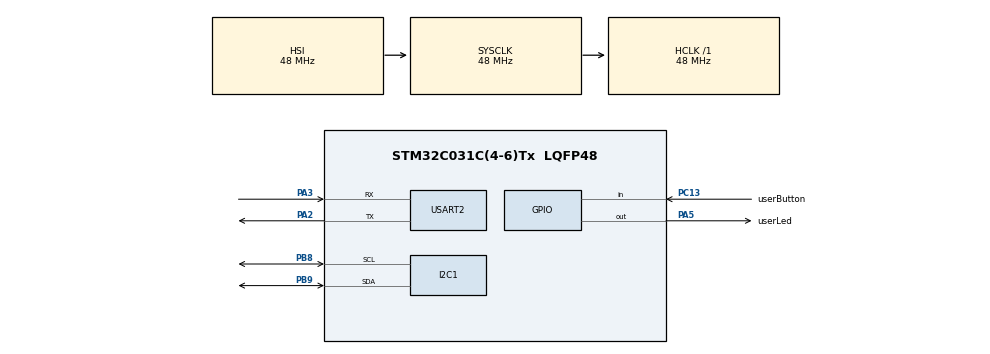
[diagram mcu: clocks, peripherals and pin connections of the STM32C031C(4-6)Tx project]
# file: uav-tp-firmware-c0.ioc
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I2C1.Timing=0x10805D88
Mcu.Family=STM32C0
Mcu.Name=STM32C031C(4-6)Tx
Mcu.Package=LQFP48
NVIC.TIM14_IRQn=true\:0\:0\:false\:false\:true\:true\:true\:true
PA13.Mode=Serial_Wire
PA13.Signal=DEBUG_SWDIO
PA14-BOOT0.Mode=Serial_Wire
PA14-BOOT0.Signal=DEBUG_SWCLK
PA2.Mode=Asynchronous
PA2.Signal=USART2_TX
PA3.Mode=Asynchronous
PA3.Signal=USART2_RX
PA5.GPIO_Label=userLed
PA5.Signal=GPIO_Output
PB8.Mode=I2C
PB8.Signal=I2C1_SCL
PB9.Mode=I2C
PB9.Signal=I2C1_SDA
PC13.GPIO_Label=userButton
PC13.Signal=GPIO_Input
ProjectManager.HeapSize=0x200
ProjectManager.StackSize=0x400
ProjectManager.TargetToolchain=Makefile
RCC.ADCFreq_Value=48000000
RCC.AHBFreq_Value=48000000
RCC.CortexFreq_Value=48000000
RCC.EXTERNAL_CLOCK_VALUE=12288000
RCC.HCLKFreq_Value=48000000
RCC.HSE_VALUE=8000000
RCC.HSISYSCLKDivider=RCC_HSI_DIV1
RCC.HSI_VALUE=48000000
RCC.LSE_VALUE=32768
RCC.SYSCLKFreq_VALUE=48000000
TIM14.Period=10000-1
TIM14.Prescaler=48-1
USART2.VirtualMode-Asynchronous=VM_ASYNC
VP_TIM14_VS_ClockSourceINT.Mode=Enable_Timer
board=custom

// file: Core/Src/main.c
/* USER CODE BEGIN Header */
/**
  ******************************************************************************
  * @file           : main.c
  * @brief          : Main program body
  ******************************************************************************
  * @attention
  *
  * Copyright (c) 2026 STMicroelectronics.
  * All rights reserved.
  *
  * This software is licensed under terms that can be found in the LICENSE file
  * in the root directory of this software component.
  * If no LICENSE file comes with this software, it is provided AS-IS.
  *
  ******************************************************************************
  */
/* USER CODE END Header */
#include "main.h"
#include "i2c.h"
#include "mpu6050.h"
#include "stm32c0xx_hal_gpio.h"
#include "stm32c0xx_hal_tim.h"
#include "tim.h"
#include "usart.h"
#include "gpio.h"

/* USER CODE BEGIN Includes */

#include <stdio.h>

/* USER CODE END Includes */

void SystemClock_Config(void);

/* USER CODE BEGIN 0 */

int __io_putchar(int ch){
  if(ch == '\n'){
    uint8_t ch2 = '\r';
    HAL_UART_Transmit(&huart2, &ch2, 1, HAL_MAX_DELAY);
  }
  HAL_UART_Transmit(&huart2, (uint8_t*)&ch, 1, HAL_MAX_DELAY);
  return 0;
}

volatile uint8_t dataReady = 0;

float rpy[3];
int16_t gyroRaw[3];
int16_t gyroBiased[3];
float gyroScaled[3];

void HAL_TIM_PeriodElapsedCallback(TIM_HandleTypeDef *htim){
  if(htim == &htim14){
    mpu6050_readGyro(gyroRaw, gyroBiased, gyroScaled, rpy, 0.01f);
    dataReady = 1;
  }
}

/* USER CODE END 0 */

int main(void)
{

  /* MCU Configuration--------------------------------------------------------*/

  /* Reset of all peripherals, Initializes the Flash interface and the Systick. */
  HAL_Init();

  /* Configure the system clock */
  SystemClock_Config();

  /* Initialize all configured peripherals */
  MX_GPIO_Init();
  MX_USART2_UART_Init();
  MX_I2C1_Init();
  MX_TIM14_Init();
  /* USER CODE BEGIN 2 */

  mpu6050_init(&hi2c1, 0x68<<1);
  mpu6050_calibrateGyro(1000);

  HAL_TIM_Base_Start_IT(&htim14);

  HAL_GPIO_WritePin(userLed_GPIO_Port, userLed_Pin, GPIO_PIN_SET);

  /* USER CODE END 2 */

  /* Infinite loop */
  /* USER CODE BEGIN WHILE */
  while (1)
  {
    if(dataReady){
      printf(">roll:%d\n",(int16_t)rpy[0]);
      printf(">pitch:%d\n",(int16_t)rpy[1]);
      printf(">yaw:%d\n",(int16_t)rpy[2]);
      dataReady = 0;
    }
    /* USER CODE END WHILE */

  }
}

void SystemClock_Config(void)
{
  RCC_OscInitTypeDef RCC_OscInitStruct = {0};
  RCC_ClkInitTypeDef RCC_ClkInitStruct = {0};

  __HAL_FLASH_SET_LATENCY(FLASH_LATENCY_1);

  /** Initializes the RCC Oscillators according to the specified parameters
  * in the RCC_OscInitTypeDef structure.
  */
  RCC_OscInitStruct.OscillatorType = RCC_OSCILLATORTYPE_HSI;
  RCC_OscInitStruct.HSIState = RCC_HSI_ON;
  RCC_OscInitStruct.HSIDiv = RCC_HSI_DIV1;
  RCC_OscInitStruct.HSICalibrationValue = RCC_HSICALIBRATION_DEFAULT;
  if (HAL_RCC_OscConfig(&RCC_OscInitStruct) != HAL_OK)
  {
    Error_Handler();
  }

  /** Initializes the CPU, AHB and APB buses clocks
  */
  RCC_ClkInitStruct.ClockType = RCC_CLOCKTYPE_HCLK|RCC_CLOCKTYPE_SYSCLK
                              |RCC_CLOCKTYPE_PCLK1;
  RCC_ClkInitStruct.SYSCLKSource = RCC_SYSCLKSOURCE_HSI;
  RCC_ClkInitStruct.SYSCLKDivider = RCC_SYSCLK_DIV1;
  RCC_ClkInitStruct.AHBCLKDivider = RCC_HCLK_DIV1;
  RCC_ClkInitStruct.APB1CLKDivider = RCC_APB1_DIV1;

  if (HAL_RCC_ClockConfig(&RCC_ClkInitStruct, FLASH_LATENCY_1) != HAL_OK)
  {
    Error_Handler();
  }
}

void Error_Handler(void)
{
  __disable_irq();
  while (1)
  {
  }
}
